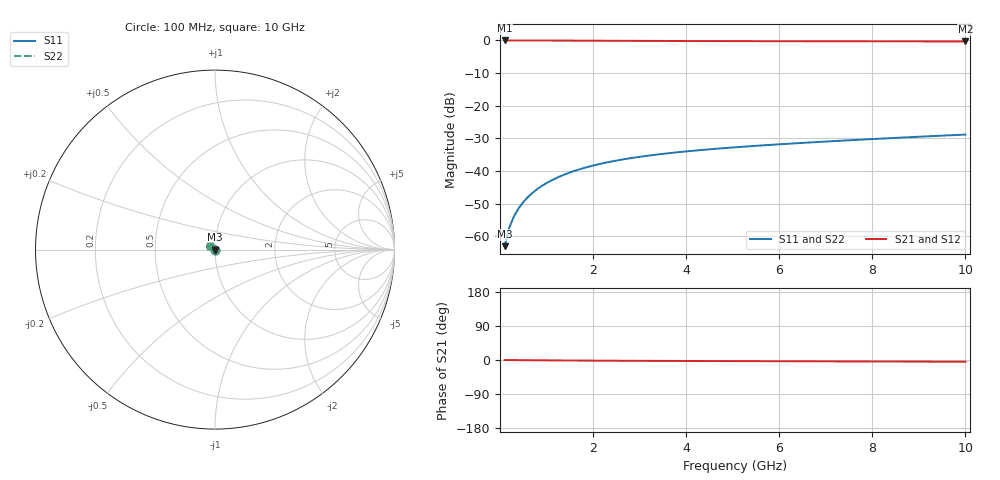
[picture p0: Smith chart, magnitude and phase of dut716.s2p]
! Touchstone file exported from HFSS 2024.1.0
!  File:  C:/UserFiles/LocalFiles/RDL_TSV_Batchsim/temp_TSV1_716_1779867935.aedt
!  Generated:  03:50:06 PM May 27, 2026
!  Design:  TSV1
!  Project:  temp_TSV1_716_1779867935
!  Setup:  Setup1
!  Solution:  Sweep
! Variables:
!  dtsv = 7.52um
!  hbump = 3um
!  htsv = 65.03um
!  lrdl = 252.1521522um
!  p = 40
!  p1 = 57.83um
!  t = 500um
!  trdl = 3um
!  wrdl = 24.89489489um
# GHz S MA R 50.000000
! Terminal data exported
! Port[1] = TSV22_T1
! Port[2] = TSV22_T2
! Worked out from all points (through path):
!   100 points, 100 MHz to 10 GHz, reference 50 ohm
!   highest |S21| = 0.00 dB at 100 MHz (marker M1); lowest = -0.3 dB at 10 GHz (marker M2)
!   lowest |S11| = -63.0 dB at 100 MHz (marker M3), VSWR 1.00, Z = 50 - j0.068 ohm
!   |S11| at or under -10 dB: start of sweep to end of sweep
!   |S22| runs from -63.0 to -28.8 dB; largest |S21 - S12| = 3e-15
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0.1  0.000707 -73.9  0.9997 -0.1  0.9997 -0.1  0.000707 -73.9
! Gamma 0 0 0 0
! Port Impedance 50 0 50 0
0.2  0.001359 -85.4  0.9997 -0.2  0.9997 -0.2  0.001359 -85.4
0.3  0.00202 -90.9  0.9995 -0.3  0.9995 -0.3  0.00202 -90.9
0.4  0.002681 -94.9  0.9993 -0.4  0.9993 -0.4  0.002681 -94.9
0.5  0.00334 -98.3  0.999 -0.5  0.999 -0.5  0.00334 -98.3
0.6  0.003993 -101.3  0.9987 -0.6  0.9987 -0.6  0.003993 -101.3
0.7  0.004641 -104.1  0.9983 -0.7  0.9983 -0.7  0.004641 -104.1
0.8  0.005282 -106.7  0.9979 -0.8  0.9979 -0.8  0.005282 -106.7
0.9  0.005914 -109.3  0.9975 -0.9  0.9975 -0.9  0.005914 -109.3
1.1  0.00715 -114.2  0.9965 -1.0  0.9965 -1.0  0.00715 -114.2
1.4  0.00892 -121.0  0.9948 -1.3  0.9948 -1.3  0.00892 -121.0
1.6  0.01004 -125.4  0.9935 -1.4  0.9935 -1.4  0.01004 -125.4
1.8  0.01111 -129.6  0.9923 -1.5  0.9923 -1.5  0.01111 -129.6
2.1  0.01261 -135.5  0.9903 -1.7  0.9903 -1.7  0.01261 -135.5
2.5  0.01445 -143.0  0.9877 -2.0  0.9877 -2.0  0.01445 -143.0
2.9  0.01611 -149.8  0.9853 -2.2  0.9853 -2.2  0.01611 -149.8
3.4  0.01798 -157.6  0.9825 -2.4  0.9825 -2.4  0.01798 -157.6
4.2  0.0206 -168.6  0.9787 -2.7  0.9787 -2.7  0.0206 -168.6
5.1  0.02323 -179.0  0.9753 -3.0  0.9753 -3.0  0.02323 -179.0
6.7  0.0275 166.1  0.9712 -3.5  0.9712 -3.5  0.0275 166.1
8.4  0.03192 154.1  0.9684 -4.0  0.9684 -4.0  0.03193 154.1
10  0.03619 145.3  0.9664 -4.6  0.9664 -4.6  0.03619 145.2
